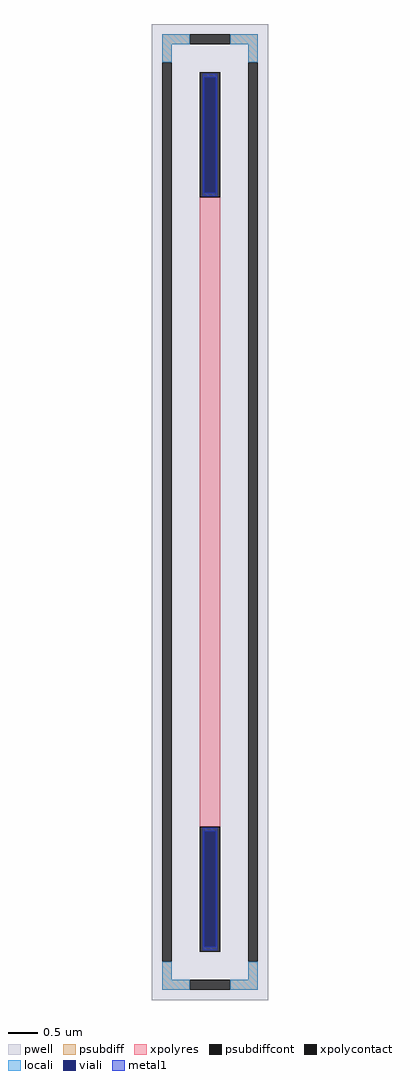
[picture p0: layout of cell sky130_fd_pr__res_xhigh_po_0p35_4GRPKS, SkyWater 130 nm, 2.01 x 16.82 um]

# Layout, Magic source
magic
tech sky130A
magscale 1 2
<< pwell >>
rect -201 -1682 201 1682
<< psubdiff >>
rect -165 1612 -69 1646
rect 69 1612 165 1646
rect -165 1550 -131 1612
rect 131 1550 165 1612
rect -165 -1612 -131 -1550
rect 131 -1612 165 -1550
rect -165 -1646 -69 -1612
rect 69 -1646 165 -1612
<< psubdiffcont >>
rect -69 1612 69 1646
rect -165 -1550 -131 1550
rect 131 -1550 165 1550
rect -69 -1646 69 -1612
<< xpolycontact >>
rect -35 1084 35 1516
rect -35 -1516 35 -1084
<< xpolyres >>
rect -35 -1084 35 1084
<< locali >>
rect -165 1612 -69 1646
rect 69 1612 165 1646
rect -165 1550 -131 1612
rect 131 1550 165 1612
rect -165 -1612 -131 -1550
rect 131 -1612 165 -1550
rect -165 -1646 -69 -1612
rect 69 -1646 165 -1612
<< viali >>
rect -19 1101 19 1498
rect -19 -1498 19 -1101
<< metal1 >>
rect -25 1498 25 1510
rect -25 1101 -19 1498
rect 19 1101 25 1498
rect -25 1089 25 1101
rect -25 -1101 25 -1089
rect -25 -1498 -19 -1101
rect 19 -1498 25 -1101
rect -25 -1510 25 -1498
<< properties >>
string FIXED_BBOX -148 -1629 148 1629
string gencell sky130_fd_pr__res_xhigh_po_0p35
string library sky130
string parameters w 0.350 l 11 m 1 nx 1 wmin 0.350 lmin 0.50 rho 2000 val 63.932k dummy 0 dw 0.0 term 188.2 sterm 0.0 caplen 0 wmax 0.350 guard 1 glc 1 grc 1 gtc 1 gbc 1 compatible {sky130_fd_pr__res_xhigh_po_0p35  sky130_fd_pr__res_xhigh_po_0p69 sky130_fd_pr__res_xhigh_po_1p41  sky130_fd_pr__res_xhigh_po_2p85 sky130_fd_pr__res_xhigh_po_5p73} snake 0 full_metal 1 n_guard 0 hv_guard 0 vias 1 viagb 0 viagt 0 viagl 0 viagr 0
<< end >>
